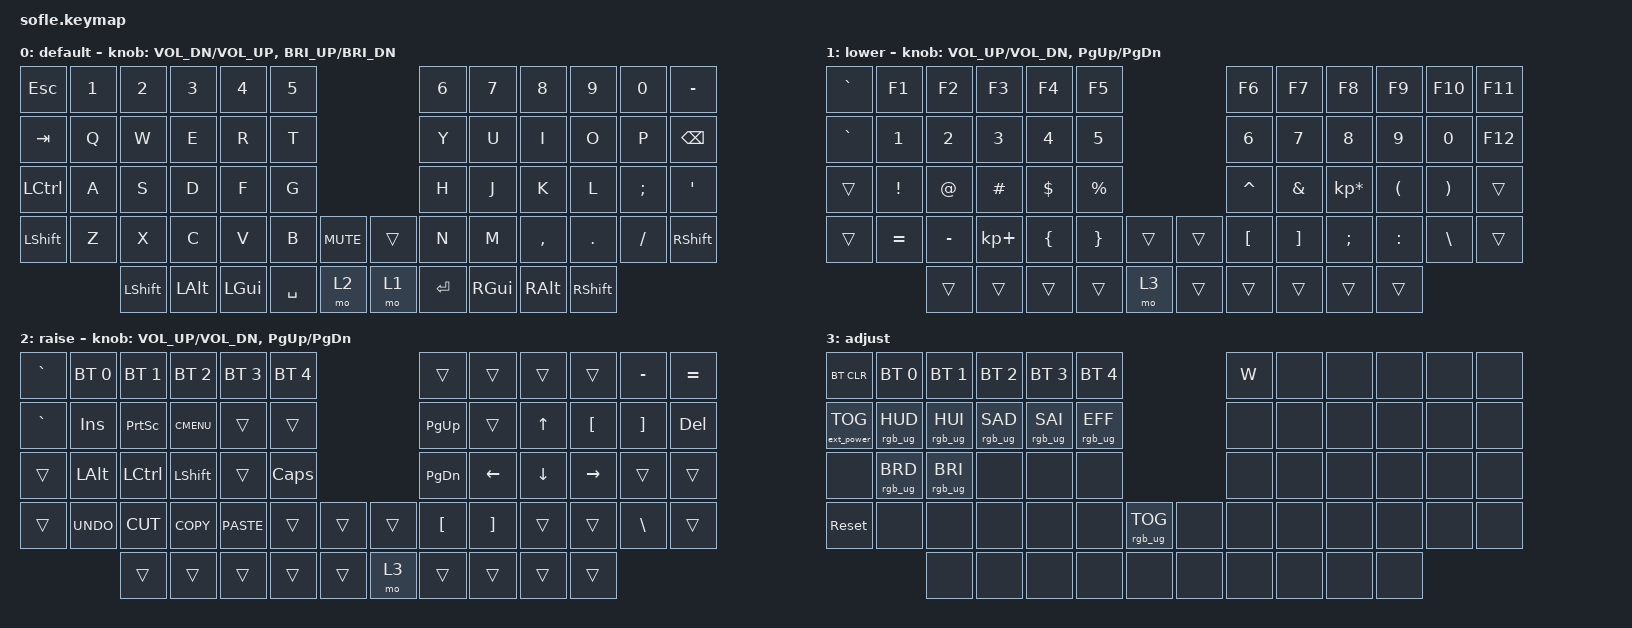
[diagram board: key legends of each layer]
/*
 * Copyright (c) 2020 The ZMK Contributors
 *
 * SPDX-License-Identifier: MIT
 */

#include <behaviors.dtsi>
#include <dt-bindings/zmk/bt.h>
#include <dt-bindings/zmk/ext_power.h>
#include <dt-bindings/zmk/keys.h>
#include <dt-bindings/zmk/rgb.h>

#define BASE 0
#define LOWER 1
#define RAISE 2
#define ADJUST 3

/ {
    // Activate ADJUST layer by pressing raise and lower

    conditional_layers {
        compatible = "zmk,conditional-layers";

        adjust_layer {
            if-layers = <1 2>;
            then-layer = <3>;
        };
    };

    keymap {
        compatible = "zmk,keymap";

        default_layer {
            label = "default";

            // ------------------------------------------------------------------------------------------------------------
            // |   `   |  1  |  2  |  3   |  4   |  5   |                   |  6   |  7    |  8    |  9   |   0   |       |
            // |  ESC  |  Q  |  W  |  E   |  R   |  T   |                   |  Y   |  U    |  I    |  O   |   P   | BKSPC |
            // |  TAB  |  A  |  S  |  D   |  F   |  G   |                   |  H   |  J    |  K    |  L   |   ;   |   '   |
            // | SHIFT |  Z  |  X  |  C   |  V   |  B   |  MUTE  |  |       |  N   |  M    |  ,    |  .   |   /   | SHIFT |
            //               | GUI | ALT  | CTRL | LOWER|  ENTER |  | SPACE | RAISE| CTRL  | ALT   | GUI  |

            bindings = <
&kp ESC    &kp N1  &kp N2          &kp N3        &kp N4        &kp N5                           &kp N6     &kp N7         &kp N8         &kp N9           &kp N0    &kp MINUS
&kp TAB    &kp Q   &kp W           &kp E         &kp R         &kp T                            &kp Y      &kp U          &kp I          &kp O            &kp P     &kp BSPC
&kp LCTRL  &kp A   &kp S           &kp D         &kp F         &kp G                            &kp H      &kp J          &kp K          &kp L            &kp SEMI  &kp SQT
&kp LSHFT  &kp Z   &kp X           &kp C         &kp V         &kp B      &kp C_MUTE    &trans  &kp N      &kp M          &kp COMMA      &kp DOT          &kp FSLH  &kp RSHFT
                   &kp LEFT_SHIFT  &kp LEFT_ALT  &kp LEFT_GUI  &kp SPACE  &mo 2         &mo 1   &kp ENTER  &kp RIGHT_GUI  &kp RIGHT_ALT  &kp RIGHT_SHIFT
            >;

            sensor-bindings =
                <&inc_dec_kp C_VOL_DN C_VOL_UP>,
                <&inc_dec_kp C_BRI_UP C_BRI_DN>;
        };

        lower_layer {
            label = "lower";

            // TODO: Some binds are waiting for shifted keycode support.
            // ------------------------------------------------------------------------------------------------------------
            // |       |  F1 |  F2 |  F3  |  F4  |  F5  |                   |  F6  |  F7   |  F8   |  F9  |  F10  |  F11  |
            // |   `   |  1  |  2  |  3   |  4   |  5   |                   |  6   |  7    |  8    |  9   |   0   |  F12  |
            // |       |  !  |  @  |  #   |  $   |  %   |                   |  ^   |  &    |  *    |  (   |   )   |   |   |
            // |       |  =  |  -  |  +   |  {   |  }   |        |  |       |  [   |  ]    |  ;    |  :   |   \   |       |
            //               |     |      |      |      |        |  |       |      |       |       |      |

            bindings = <
&kp GRAVE  &kp F1     &kp F2     &kp F3       &kp F4    &kp F5                       &kp F6     &kp F7    &kp F8           &kp F9     &kp F10   &kp F11
&kp GRAVE  &kp N1     &kp N2     &kp N3       &kp N4    &kp N5                       &kp N6     &kp N7    &kp N8           &kp N9     &kp N0    &kp F12
&trans     &kp EXCL   &kp AT     &kp HASH     &kp DLLR  &kp PRCNT                    &kp CARET  &kp AMPS  &kp KP_MULTIPLY  &kp LPAR   &kp RPAR  &trans
&trans     &kp EQUAL  &kp MINUS  &kp KP_PLUS  &kp LBRC  &kp RBRC   &trans    &trans  &kp LBKT   &kp RBKT  &kp SEMI         &kp COLON  &kp BSLH  &trans
                      &trans     &trans       &trans    &trans     &mo 3     &trans  &trans     &trans    &trans           &trans
            >;

            sensor-bindings = <&inc_dec_kp C_VOL_UP C_VOL_DN &inc_dec_kp PG_UP PG_DN>;
        };

        raise_layer {
            label = "raise";

            // ------------------------------------------------------------------------------------------------------------
            // | BTCLR | BT1  | BT2  |  BT3  |  BT4  |  BT5 |                |      |      |       |      |       |       |
            // |       | INS  | PSCR | GUI   |       |      |                | PGUP |      |   ^   |      |       |       |
            // |       | ALT  | CTRL | SHIFT |       | CAPS |                | PGDN |   <- |   v   |  ->  |  DEL  | BKSPC |
            // |       | UNDO | CUT  | COPY  | PASTE |      |      |  |      |      |      |       |      |       |       |
            //                |      |       |       |      |      |  |      |      |      |       |      |

            bindings = <
&kp GRAVE  &bt BT_SEL 0  &bt BT_SEL 1  &bt BT_SEL 2  &bt BT_SEL 3  &bt BT_SEL 4                    &trans            &trans             &trans    &trans            &kp MINUS          &kp EQUAL
&kp GRAVE  &kp INS       &kp PSCRN     &kp K_CMENU   &trans        &trans                          &kp PG_UP         &trans             &kp UP    &kp LEFT_BRACKET  &kp RIGHT_BRACKET  &kp DEL
&trans     &kp LALT      &kp LCTRL     &kp LSHFT     &trans        &kp CLCK                        &kp PG_DN         &kp LEFT           &kp DOWN  &kp RIGHT         &trans             &trans
&trans     &kp K_UNDO    &kp K_CUT     &kp K_COPY    &kp K_PASTE   &trans        &trans    &trans  &kp LEFT_BRACKET  &kp RIGHT_BRACKET  &trans    &trans            &kp BSLH           &trans
                         &trans        &trans        &trans        &trans        &trans    &mo 3   &trans            &trans             &trans    &trans
            >;

            sensor-bindings = <&inc_dec_kp C_VOL_UP C_VOL_DN &inc_dec_kp PG_UP PG_DN>;
        };

        adjust_layer {
            // ----------------------------------------------------------------------------------------------------------------------------
            // | BTCLR  |  BT1    |  BT2    |   BT3   |   BT4   |   BT5   |                  |      |      |       |      |       |       |
            // | EXTPWR | RGB_HUD | RGB_HUI | RGB_SAD | RGB_SAI | RGB_EFF |                  |      |      |       |      |       |       |
            // |        | RGB_BRD | RGB_BRI |         |         |         |                  |      |      |       |      |       |       |
            // |        |         |         |         |         |         | RGB_TOG | |      |      |      |       |      |       |       |
            //                    |         |         |         |         |         | |      |      |      |       |      |

            label = "adjust";
            bindings = <
&bt BT_CLR         &bt BT_SEL 0     &bt BT_SEL 1     &bt BT_SEL 2     &bt BT_SEL 3     &bt BT_SEL 4                               &kp W  &none  &none  &none  &none  &none
&ext_power EP_TOG  &rgb_ug RGB_HUD  &rgb_ug RGB_HUI  &rgb_ug RGB_SAD  &rgb_ug RGB_SAI  &rgb_ug RGB_EFF                            &none  &none  &none  &none  &none  &none
&none              &rgb_ug RGB_BRD  &rgb_ug RGB_BRI  &none            &none            &none                                      &none  &none  &none  &none  &none  &none
&sys_reset         &none            &none            &none            &none            &none            &rgb_ug RGB_TOG    &none  &none  &none  &none  &none  &none  &none
                                    &none            &none            &none            &none            &none              &none  &none  &none  &none  &none
            >;
        };
    };
};
